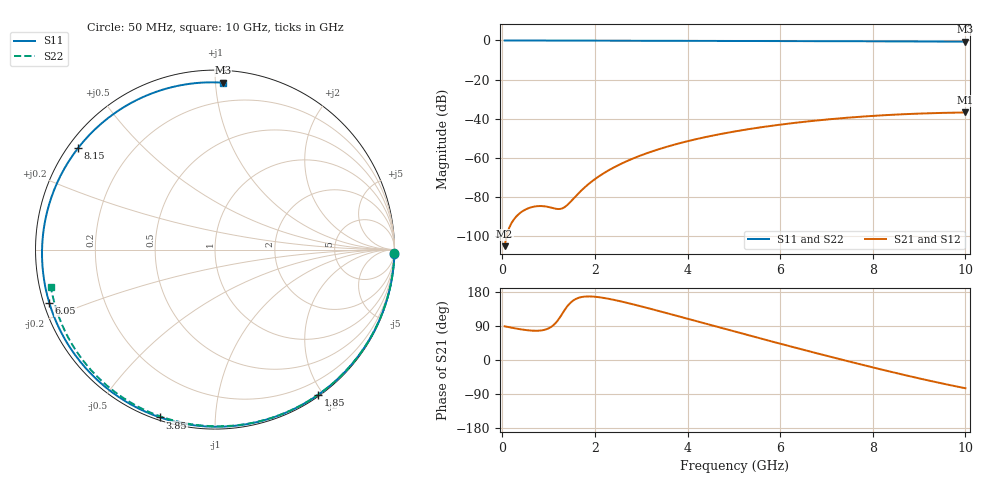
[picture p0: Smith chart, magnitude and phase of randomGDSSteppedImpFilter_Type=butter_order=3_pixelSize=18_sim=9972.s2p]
! freq	dB(S11)	phase(S11)	dB(S12)	phase(S12)
!  dB(S21)	phase(S21)	dB(S22)	phase(S22)
!S-par simulation data
#  GHz  S  DB  R 50
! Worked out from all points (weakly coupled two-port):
!   200 points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, 50 MHz to 10 GHz, reference 50 ohm
!   highest |S21| = -36.82 dB at 10 GHz (marker M1); lowest = -105.2 dB at 50 MHz (marker M2)
!   lowest |S11| = -0.6 dB at 10 GHz (marker M3), VSWR 28.00, Z = 3.74 + j52.3 ohm
!   |S11| at or under -10 dB: nowhere
!   |S22| runs from -0.6 to 0.0 dB; largest |S21 - S12| = 0
!   S11 on the Smith chart (normalised r, x): 50 MHz: 0, -75; 1.85 GHz: 0.02, -1.94; 3.85 GHz: 0.01, -0.72; 6.05 GHz: 0.02, -0.16; 8.15 GHz: 0.03, +0.33; 10 GHz: 0.07, +1.05
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0.05  -0.00 -1.5  -105.18 88.9  -105.18 88.9  -0.00 -1.0
0.75  -0.03 -22.6  -84.73 77.2  -84.73 77.2  -0.02 -14.4
1.55  -0.06 -46.1  -80.53 158.5  -80.53 158.5  -0.04 -29.5
1.75  -0.06 -51.8  -75.75 166.9  -75.75 166.9  -0.04 -33.2
1.85  -0.07 -54.6  -73.67 167.8  -73.67 167.8  -0.04 -35.1
2.15  -0.08 -63.1  -68.48 164.6  -68.48 164.6  -0.05 -40.6
2.5  -0.09 -72.7  -63.82 156.3  -63.82 156.3  -0.06 -47.0
2.9  -0.10 -83.5  -59.61 144.6  -59.61 144.6  -0.07 -54.1
3.4  -0.12 -96.6  -55.45 128.7  -55.45 128.7  -0.08 -62.9
3.85  -0.14 -108.1  -52.41 113.8  -52.41 113.8  -0.10 -70.7
4.45  -0.17 -123.1  -49.09 93.9  -49.09 93.9  -0.12 -80.8
5.05  -0.20 -137.8  -46.40 74.0  -46.40 74.0  -0.14 -90.6
5.55  -0.23 -150.0  -44.51 57.6  -44.51 57.6  -0.16 -98.6
6.05  -0.27 -162.2  -42.90 41.4  -42.90 41.4  -0.19 -106.5
6.7  -0.32 -178.4  -41.13 20.7  -41.13 20.7  -0.23 -116.5
7.45  -0.38 162.3  -39.51 -2.8  -39.51 -2.8  -0.28 -127.9
8.15  -0.45 143.4  -38.35 -24.0  -38.35 -24.0  -0.34 -138.5
8.35  -0.47 137.7  -38.08 -29.9  -38.08 -29.9  -0.36 -141.6
8.8  -0.51 124.7  -37.58 -42.9  -37.58 -42.9  -0.41 -148.4
9.25  -0.55 111.1  -37.20 -55.3  -37.20 -55.3  -0.46 -155.3
9.65  -0.59 98.6  -36.96 -65.8  -36.96 -65.8  -0.51 -161.6
10  -0.62 87.3  -36.82 -74.6  -36.82 -74.6  -0.56 -167.1
